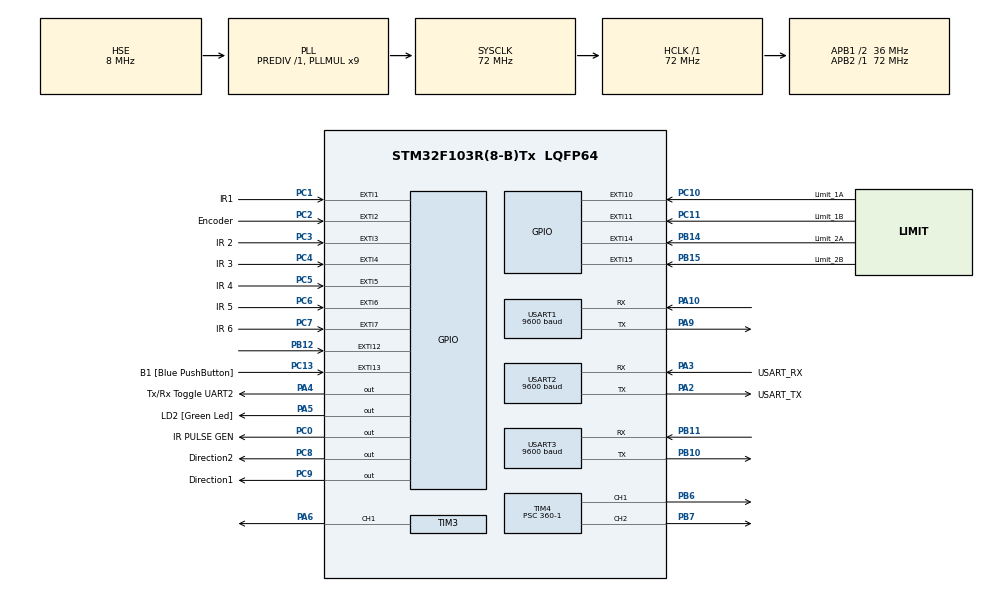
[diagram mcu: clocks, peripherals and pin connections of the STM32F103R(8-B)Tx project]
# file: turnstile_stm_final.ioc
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Dma.Request0=TIM3_CH1/TRIG
Dma.TIM3_CH1/TRIG.0.Direction=DMA_MEMORY_TO_PERIPH
Dma.TIM3_CH1/TRIG.0.Instance=DMA1_Channel6
Dma.TIM3_CH1/TRIG.0.MemDataAlignment=DMA_MDATAALIGN_BYTE
Dma.TIM3_CH1/TRIG.0.MemInc=DMA_MINC_ENABLE
Dma.TIM3_CH1/TRIG.0.Mode=DMA_NORMAL
Dma.TIM3_CH1/TRIG.0.PeriphDataAlignment=DMA_PDATAALIGN_HALFWORD
Dma.TIM3_CH1/TRIG.0.PeriphInc=DMA_PINC_DISABLE
Dma.TIM3_CH1/TRIG.0.Priority=DMA_PRIORITY_LOW
Mcu.Family=STM32F1
Mcu.Name=STM32F103R(8-B)Tx
Mcu.Package=LQFP64
NVIC.DMA1_Channel6_IRQn=true\:0\:0\:false\:false\:true\:false\:true\:true
NVIC.EXTI15_10_IRQn=true\:0\:0\:false\:false\:true\:true\:true\:true
NVIC.EXTI1_IRQn=true\:0\:0\:false\:false\:true\:true\:true\:true
NVIC.EXTI2_IRQn=true\:0\:0\:false\:false\:true\:true\:true\:true
NVIC.EXTI3_IRQn=true\:0\:0\:false\:false\:true\:true\:true\:true
NVIC.EXTI4_IRQn=true\:0\:0\:false\:false\:true\:true\:true\:true
NVIC.EXTI9_5_IRQn=true\:0\:0\:false\:false\:true\:true\:true\:true
NVIC.PriorityGroup=NVIC_PRIORITYGROUP_4
NVIC.USART1_IRQn=true\:0\:0\:true\:false\:true\:true\:true\:true
NVIC.USART2_IRQn=true\:0\:0\:true\:false\:true\:true\:true\:true
NVIC.USART3_IRQn=true\:0\:0\:false\:false\:true\:true\:true\:true
NimaLTD.I-CUBE-WS28XX.3.0.1.DriverJjWS28XX=true
NimaLTD.I-CUBE-WS28XX.3.0.1.WS28XX_PIXEL_MAX=578
PA10.Mode=Asynchronous
PA10.Signal=USART1_RX
PA13.GPIO_Label=TMS
PA13.Mode=Serial_Wire
PA13.Signal=SYS_JTMS-SWDIO
PA14.GPIO_Label=TCK
PA14.Mode=Serial_Wire
PA14.Signal=SYS_JTCK-SWCLK
PA2.GPIO_Label=USART_TX
PA2.GPIO_Mode=GPIO_MODE_AF_PP
PA2.GPIO_PuPd=GPIO_NOPULL
PA2.GPIO_Speed=GPIO_SPEED_FREQ_LOW
PA2.Mode=Asynchronous
PA2.Signal=USART2_TX
PA3.GPIO_Label=USART_RX
PA3.GPIO_Mode=GPIO_MODE_AF_PP
PA3.GPIO_PuPd=GPIO_NOPULL
PA3.GPIO_Speed=GPIO_SPEED_FREQ_LOW
PA3.Mode=Asynchronous
PA3.Signal=USART2_RX
PA4.GPIO_Label=Tx/Rx Toggle UART2
PA4.Signal=GPIO_Output
PA5.GPIO_Label=LD2 [Green Led]
PA5.GPIO_ModeDefaultOutputPP=GPIO_MODE_OUTPUT_PP
PA5.GPIO_PuPd=GPIO_NOPULL
PA5.GPIO_Speed=GPIO_SPEED_FREQ_LOW
PA5.Signal=GPIO_Output
PA6.Signal=S_TIM3_CH1
PA9.Mode=Asynchronous
PA9.Signal=USART1_TX
PB10.Mode=Asynchronous
PB10.Signal=USART3_TX
PB11.Mode=Asynchronous
PB11.Signal=USART3_RX
PB12.Signal=GPXTI12
PB14.GPIO_Label=Limit_2A
PB14.GPIO_PuPd=GPIO_PULLUP
PB14.Signal=GPXTI14
PB15.GPIO_Label=Limit_2B
PB15.GPIO_PuPd=GPIO_PULLUP
PB15.Signal=GPXTI15
PB3.GPIO_Label=SWO
PB3.Signal=SYS_JTDO-TRACESWO
PB6.Signal=S_TIM4_CH1
PB7.Signal=S_TIM4_CH2
PC0.GPIO_Label=IR PULSE GEN
PC0.Signal=GPIO_Output
PC1.GPIO_Label=IR1
PC1.Signal=GPXTI1
PC10.GPIO_Label=Limit_1A
PC10.GPIO_PuPd=GPIO_PULLUP
PC10.Signal=GPXTI10
PC11.GPIO_Label=Limit_1B
PC11.GPIO_PuPd=GPIO_PULLUP
PC11.Signal=GPXTI11
PC13-TAMPER-RTC.GPIO_Label=B1 [Blue PushButton]
PC13-TAMPER-RTC.GPIO_PuPd=GPIO_NOPULL
PC13-TAMPER-RTC.Signal=GPXTI13
PC14-OSC32_IN.Mode=LSE-External-Oscillator
PC14-OSC32_IN.Signal=RCC_OSC32_IN
PC15-OSC32_OUT.Mode=LSE-External-Oscillator
PC15-OSC32_OUT.Signal=RCC_OSC32_OUT
PC2.GPIO_Label=Encoder
PC2.Signal=GPXTI2
PC3.GPIO_Label=IR 2
PC3.Signal=GPXTI3
PC4.GPIO_Label=IR 3
PC4.Signal=GPXTI4
PC5.GPIO_Label=IR 4
PC5.Signal=GPXTI5
PC6.GPIO_Label=IR 5
PC6.Signal=GPXTI6
PC7.GPIO_Label=IR 6
PC7.Signal=GPXTI7
PC8.GPIO_Label=Direction2
PC8.Signal=GPIO_Output
PC9.GPIO_Label=Direction1
PC9.Signal=GPIO_Output
PD0-OSC_IN.Mode=HSE-External-Clock-Source
PD0-OSC_IN.Signal=RCC_OSC_IN
PD1-OSC_OUT.Mode=HSE-External-Clock-Source
PD1-OSC_OUT.Signal=RCC_OSC_OUT
ProjectManager.HeapSize=0x200
ProjectManager.StackSize=0x400
ProjectManager.TargetToolchain=STM32CubeIDE
RCC.AHBFreq_Value=72000000
RCC.APB1CLKDivider=RCC_HCLK_DIV2
RCC.APB1Freq_Value=36000000
RCC.APB1TimFreq_Value=72000000
RCC.APB2Freq_Value=72000000
RCC.APB2TimFreq_Value=72000000
RCC.HCLKFreq_Value=72000000
RCC.PLLMUL=RCC_PLL_MUL9
RCC.PLLSourceVirtual=RCC_PLLSOURCE_HSE
RCC.RTCClockSelection=RCC_RTCCLKSOURCE_LSE
RCC.SYSCLKFreq_VALUE=72000000
RCC.SYSCLKSource=RCC_SYSCLKSOURCE_PLLCLK
RCC.USBFreq_Value=72000000
SH.S_TIM3_CH1.0=TIM3_CH1,PWM Generation1 CH1
SH.S_TIM4_CH1.0=TIM4_CH1,PWM Generation1 CH1
SH.S_TIM4_CH2.0=TIM4_CH2,PWM Generation2 CH2
TIM3.Channel-PWM\ Generation1\ CH1=TIM_CHANNEL_1
TIM3.Period=100
TIM3.Prescaler=71
TIM4.Channel-PWM\ Generation1\ CH1=TIM_CHANNEL_1
TIM4.Channel-PWM\ Generation2\ CH2=TIM_CHANNEL_2
TIM4.Period=200-1
TIM4.Prescaler=360-1
USART1.BaudRate=9600
USART1.VirtualMode=VM_ASYNC
USART2.BaudRate=9600
USART2.VirtualMode=VM_ASYNC
USART3.BaudRate=9600
USART3.VirtualMode=VM_ASYNC
VP_NimaLTD.I-CUBE-WS28XX_VS_DriverJjWS28XX_1.0.0_3.0.1.Mode=DriverJjWS28XX
VP_TIM3_VS_ClockSourceINT.Mode=Internal
VP_TIM4_VS_ClockSourceINT.Mode=Internal
board=NUCLEO-F103RB

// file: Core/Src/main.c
/* USER CODE BEGIN Header */
/**
  ******************************************************************************
  * @file           : main.c
  * @brief          : Main program body
  ******************************************************************************
  * @attention
  *
  * Copyright (c) 2024 STMicroelectronics.
  * All rights reserved.
  *
  * This software is licensed under terms that can be found in the LICENSE file
  * in the root directory of this software component.
  * If no LICENSE file comes with this software, it is provided AS-IS.
  *
  ******************************************************************************
  */
/* USER CODE END Header */
#include "main.h"
#include "dma.h"
#include "tim.h"
#include "usart.h"
#include "gpio.h"

/* USER CODE BEGIN Includes */
#include "ws28xx.h"
#include <string.h>
#include <stdio.h>
#include "dma.h"
#include "tim.h"
#include "usart.h"
#include "gpio.h"
/* USER CODE END Includes */

/* USER CODE BEGIN PTD */
typedef enum {
    STATE_READY,
    STATE_READING,
    STATE_OPEN,
    STATE_CLOSED,
    STATE_OVERCAPACITY,
    STATE_SLEEP,
    STATE_EMERGENCY
} SystemState;
/* USER CODE END PTD */

/* USER CODE BEGIN PD */

#define LED_ROWS 8
#define LED_COLS 32
#define LED_FIRST_MATRIX 256
#define LED_LAST_MATRIX_START 322
#define LED_LAST_MATRIX 256
#define LED_SECOND_SEGMENT_START 256
#define LED_SECOND_SEGMENT_COUNT 19
#define LED_THIRD_SEGMENT_START 275
#define LED_THIRD_SEGMENT_COUNT 14
#define LED_FOURTH_SEGMENT_START 289
#define LED_FOURTH_SEGMENT_COUNT 14
#define LED_FIFTH_SEGMENT_START 303
#define LED_FIFTH_SEGMENT_COUNT 19
#define LED_TOTAL 578  // Total number of LEDs after adjustments
#define DELAY_TIME 100  // Delay for animation steps
#define OBJECT_DETECTION_TIMEOUT 500  // Timeout period for object detection (in ms)
#define PULSE_INTERVAL 100            // Interval for pulse transmission (in ms)
#define ENCODER_THRESHOLD 570
#define TURNSTILE_ID 1  // Set manually to 1 for one Nucleo, and 2 for the other
#define NUM_SENSORS 6
#define RS485_DE_RE_PIN GPIO_PIN_4
#define RS485_DE_RE_PORT GPIOA

/* USER CODE END PD */

/* USER CODE BEGIN PV */

// State variable for blinking cross animation
WS28XX_HandleTypeDef ws;
int global_brightness = 100;  // Global brightness control
int brightness = 40;     // Global brightness level (40-255)
SystemState currentState = STATE_READY; // Initialize to Ready State
uint8_t rxData[14];        // Single buffer for USART1 and USART2
uint8_t processedData[15]; // Buffer to store processed data
char usermsg[15];          // Message to send
volatile uint8_t flag_rev = 0;      // Flag to indicate data reception
int rfid_flag = 1; //to manage data flow
volatile uint8_t rfid_flag_1 = 1;
volatile uint8_t uart_source = 0;   // Variable to identify UART source (1 for USART1, 2 for USART2)
volatile uint8_t RFID_counter = 0;
char responseData[2];      // For NOS response
uint8_t intresponseData;
/* Other variables */
volatile int counter1 = 0;
volatile int counter2 = 0;
volatile int rev = 0;
volatile int data_received = 0;
int flag4=0;
int flag5=0;
int flag33=0;
int flag333=0;
int counterrfid=0;
int test_count=0;
volatile int rfid_trigger = 0;

char receivedTurnstileIDChar;
char receivedCommandChar;

 uint8_t receivedCommand;
 char receivedTurnstileID[1];

/*
uint32_t last_pulse_received_time1 = 0;  // Time for last pulse reception
uint32_t last_pulse_received_time2 = 0;  // Time for last pulse reception
uint32_t last_pulse_received_time3 = 0;  // Time for last pulse reception
uint32_t last_pulse_received_time4 = 0;  // Time for last pulse reception
uint32_t last_pulse_received_time5 = 0;  // Time for last pulse reception
uint32_t last_pulse_received_time6 = 0;  // Time for last pulse reception
*/
volatile int ir_flag = 0;

//uint8_t receivedTurnstileID = 0;

uint32_t last_pulse_received_time[NUM_SENSORS] = {0};

/* USER CODE END PV */

void SystemClock_Config(void);

/* USER CODE BEGIN 0 */
//LED MATRIX FUNCTIONS
/* Arrow shape indices for entry and exit matrices */

int arrow[] = {
    83, 84, 91, 92, 99, 100, 107, 108, 115, 116, 123, 124,
    131, 132, 137, 138, 139, 140, 141, 142, 146, 147, 148, 149,
    155, 156
};

/* Cross shape LED indices for the first matrix (0–255) */
int topCrossFirst[] = {24, 31, 33, 38, 42, 45, 51, 52, 59, 60, 66, 69, 73, 78, 80, 87};
int middleCrossFirst[] = {96, 103, 105, 110, 114, 117, 123, 124, 131, 132, 138, 141, 145, 150, 152, 159};
int bottomCrossFirst[] = {168, 175, 177, 182, 186, 189, 195, 196, 203, 204, 210, 213, 217, 222, 224, 231};

/* Cross shape LED indices for the last matrix (322–577) */
int topCrossLast[] = {346, 353, 355, 360, 364, 367, 373, 374, 381, 382, 388, 391, 395, 400, 402, 409};
int middleCrossLast[] = {418, 425, 427, 432, 436, 439, 445, 446, 453, 454, 460, 463, 467, 472, 474, 481};
int bottomCrossLast[] = {490, 497, 499, 504, 508, 511, 517, 518, 525, 526, 532, 535, 539, 544, 546, 553};

/* Strips and RFID indices */
int entryStrip[] = {256, 257, 258, 259, 260, 261, 262, 263, 264, 265, 266, 267, 268, 269, 270, 271, 272, 273, 274};
int exitStrip[] = {315, 316, 317, 318, 319, 320, 321, 322, 323, 324, 325, 326, 327, 328, 329, 330, 331, 332, 333};

int entryRFID[] = {275, 276, 277, 278, 279, 280, 281, 282, 283, 284, 285, 286, 287, 288, 289, 290, 291, 292, 293, 294};
int exitRFID[] = {295, 296, 297, 298, 299, 300, 301, 302, 303, 304, 305, 306, 307, 308, 309, 310, 311, 312, 313, 314};

int swingBarrierStrip[] = {};//Left empty till confirmation

const int entryStripSize = sizeof(entryStrip) / sizeof(entryStrip[0]);
const int exitStripSize = sizeof(exitStrip) / sizeof(exitStrip[0]);
const int entryRFIDSize = sizeof(entryRFID) / sizeof(entryRFID[0]);
const int exitRFIDSize = sizeof(exitRFID) / sizeof(exitRFID[0]);

/* Function to shift the arrow forward by one row, limited to the first strip */

int Get_LED_Index(int row, int col) {
    if (row % 2 == 0) {
        // Even row (left-to-right)
        return (row * LED_COLS) + col;
    } else {
        // Odd row (right-to-left)
        return (row * LED_COLS) + (LED_COLS - 1 - col);
    }
}

void Draw_Cross(WS28XX_HandleTypeDef *ws, int *cross, int color) {
    for (int i = 0; i < 16; i++) {
        if (cross[i] >= 0 && cross[i] < 577) {
            WS28XX_SetPixel_RGBW_565(ws, cross[i], color, global_brightness);
        }
    }
    WS28XX_Update(ws);
}

/* Function to turn off the "X" shapes for the cross */
void Clear_Cross(WS28XX_HandleTypeDef *ws, int *cross) {
    for (int i = 0; i < 16; i++) {
        if (cross[i] >= 0 && cross[i] < 577) {
            WS28XX_SetPixel_RGBW_565(ws, cross[i], COLOR_RGB565_BLACK, 0);
        }
    }
    WS28XX_Update(ws);
}

/* Function to light up a range of LEDs with a specific color */
void Light_Range(WS28XX_HandleTypeDef *ws, int start, int count, int color) {
    for (int i = start; i < start + count; i++) {
        WS28XX_SetPixel_RGBW_565(ws, i, color, global_brightness);
    }
    WS28XX_Update(ws);
}

/* Function to draw the arrow */
void Draw_Arrow(WS28XX_HandleTypeDef *ws, int *arrow, int color, int offset) {
    for (int i = 0; i < 26; i++) {
        int led_index = arrow[i] + offset;
        if (led_index >= 0 && led_index < 577) {
            WS28XX_SetPixel_RGBW_565(ws, led_index, color, global_brightness);
        }
    }
    WS28XX_Update(ws);
}

/* Function to clear the arrow */
void Clear_Arrow(WS28XX_HandleTypeDef *ws, int *arrow, int offset) {
    for (int i = 0; i < 26; i++) {
        int led_index = arrow[i] + offset;
        if (led_index >= 0 && led_index < 577) {
            WS28XX_SetPixel_RGBW_565(ws, led_index, COLOR_RGB565_BLACK, 0);
        }
    }
    WS28XX_Update(ws);
}

/* Function to shift the arrow forward */
void Shift_Arrow(int *arrow) {
    for (int i = 0; i < 26; i++) {
        arrow[i] = arrow[i] + 8;
        if (arrow[i] >= LED_FIRST_MATRIX) {  // Reset the arrow within the first matrix
            arrow[i] = arrow[i] % LED_FIRST_MATRIX;
        }
    }
}

void clear_function(WS28XX_HandleTypeDef *ws, int *display)
{

	 for (int i = 0; i < 200; i++) {
	        if (display[i] >= 0 && display[i] < 577) {
	            WS28XX_SetPixel_RGBW_565(ws, display[i], COLOR_RGB565_BLACK, 0);
	        }
	    }
}

/* Function to draw the "X" shapes for the cross */

void Normal_Mode() {
    Clear_Arrow(&ws, arrow, 0);
    Shift_Arrow(arrow);
    Draw_Arrow(&ws, arrow, COLOR_RGB565_GREEN, 0);  // Arrow in first matrix
    Draw_Cross(&ws, topCrossLast, COLOR_RGB565_RED);
    Draw_Cross(&ws, middleCrossLast, COLOR_RGB565_RED);
    Draw_Cross(&ws, bottomCrossLast, COLOR_RGB565_RED);

    // Static segments
    Light_Range(&ws, LED_SECOND_SEGMENT_START, LED_SECOND_SEGMENT_COUNT, COLOR_RGB565_GREEN);
    Light_Range(&ws, LED_THIRD_SEGMENT_START, LED_THIRD_SEGMENT_COUNT, COLOR_RGB565_GREEN);
    Light_Range(&ws, LED_FOURTH_SEGMENT_START, LED_FOURTH_SEGMENT_COUNT, COLOR_RGB565_RED);
    Light_Range(&ws, LED_FIFTH_SEGMENT_START, LED_FIFTH_SEGMENT_COUNT, COLOR_RGB565_RED);
}

/* Reverse Mode Function */
void Reverse_Mode() {
    Clear_Arrow(&ws, arrow, LED_LAST_MATRIX_START);
    Shift_Arrow(arrow);
    Draw_Arrow(&ws, arrow, COLOR_RGB565_GREEN, LED_LAST_MATRIX_START);  // Arrow in last matrix
    Draw_Cross(&ws, topCrossFirst, COLOR_RGB565_RED);
    Draw_Cross(&ws, middleCrossFirst, COLOR_RGB565_RED);
    Draw_Cross(&ws, bottomCrossFirst, COLOR_RGB565_RED);

    // Static segments (reversed)
    Light_Range(&ws, LED_SECOND_SEGMENT_START, LED_SECOND_SEGMENT_COUNT, COLOR_RGB565_RED);
    Light_Range(&ws, LED_THIRD_SEGMENT_START, LED_THIRD_SEGMENT_COUNT, COLOR_RGB565_RED);
    Light_Range(&ws, LED_FOURTH_SEGMENT_START, LED_FOURTH_SEGMENT_COUNT, COLOR_RGB565_GREEN);
    Light_Range(&ws, LED_FIFTH_SEGMENT_START, LED_FIFTH_SEGMENT_COUNT, COLOR_RGB565_GREEN);
}

// IR FUNCTIONS
int CheckObjectDetection(void) {
    static uint32_t last_pulse_time = 0;

    // Generate a pulse every 100 ms
    if (HAL_GetTick() - last_pulse_time >= PULSE_INTERVAL) {
        last_pulse_time = HAL_GetTick();
        HAL_GPIO_TogglePin(GPIOC, GPIO_PIN_0); // Generate pulse
    }

    // Check for timeout on all sensors
    ir_flag = 0; // Assume no object is present initially
    for (int i = 0; i < NUM_SENSORS; i++) {
        if (HAL_GetTick() - last_pulse_received_time[i] >= OBJECT_DETECTION_TIMEOUT) {
            ir_flag = 1;  // Object detected, set the flag
            break;        // No need to check further if one sensor times out
        }
    }

    return ir_flag; // Return the state of the IR flag
}

//MOTOR CONTROL FUNCTIONS
void Speed_Control1(int a)
{
	__HAL_TIM_SetCompare(&htim4, TIM_CHANNEL_1, a);
	//__HAL_TIM_SetCompare(&htim4, TIM_CHANNEL_2, a - 30);
}
void Speed_Control2(int a)
{
	//__HAL_TIM_SetCompare(&htim4, TIM_CHANNEL_1, a);
	__HAL_TIM_SetCompare(&htim4, TIM_CHANNEL_2, a);
}

void Direction(int a)
{
	if(a==1)
	{
		HAL_GPIO_WritePin(GPIOC, GPIO_PIN_8, GPIO_PIN_SET);
		HAL_GPIO_WritePin(GPIOC, GPIO_PIN_9, GPIO_PIN_RESET);
	}
	if(a==0)
	{
		HAL_GPIO_WritePin(GPIOC, GPIO_PIN_8, GPIO_PIN_RESET);
		HAL_GPIO_WritePin(GPIOC, GPIO_PIN_9, GPIO_PIN_SET);
	}
}

const uint16_t pulse_pins[NUM_SENSORS] = {GPIO_PIN_1, GPIO_PIN_3, GPIO_PIN_4, GPIO_PIN_5, GPIO_PIN_6, GPIO_PIN_7};

void HAL_GPIO_EXTI_Callback(uint16_t GPIO_Pin) {
    /*for (int i = 0; i < NUM_SENSORS; i++) {
        if (GPIO_Pin == pulse_pins[i]) {
            last_pulse_received_time[i] = HAL_GetTick();
            return; // Exit after updating the correct sensor
        }
    }*/
	if(GPIO_Pin == GPIO_PIN_12)
	{
			counter1++;
			if(counter1 == 598)
			{
				Speed_Control1(0);
				counter1 = 0;
			}
	}
	if(GPIO_Pin == GPIO_PIN_2)
	{
			counter2++;
			if(counter2 == 520)
			{
				Speed_Control2(0);
				counter2 = 0;
			}
	}
	if(GPIO_Pin == GPIO_PIN_13)
	{
			counter1 = 0;
			counter2 = 0;
			Speed_Control1(0);
			Speed_Control2(0);
	}
}

void quarter_cycle_open(int source) {
    uint32_t start_time = HAL_GetTick();  // Record the start time
    counter1 = 0;  // Reset the counter at the start of the operation
    counter2 = 0;

    // Set motor direction based on the source
    if (source == 2) {
        Direction(0);  // Direction for source 1
    } else if (source == 1) {
        Direction(1);  // Direction for source 2
    }

	Speed_Control1(100);
	Speed_Control2(80);

}

void quarter_cycle_closed(int source) {
    uint32_t start_time = HAL_GetTick();  // Record the start time
    counter1 = 0;  // Reset the counter at the start of the operation
    counter2 = 0;
    // Set motor direction based on the source
    if (source == 2) {
        Direction(1);  // Direction for source 1
    } else if (source == 1) {
        Direction(0);  // Direction for source 2
    }

	Speed_Control1(100);
	Speed_Control2(80);

}

// Function to enable RS485 Transmit Mode
void RS485_EnableTransmit(void) {
    HAL_GPIO_WritePin(RS485_DE_RE_PORT, RS485_DE_RE_PIN, GPIO_PIN_SET);
    HAL_GPIO_WritePin(GPIOA, GPIO_PIN_5, GPIO_PIN_SET);

}

// Function to enable RS485 Receive Mode
void RS485_EnableReceive(void) {
    HAL_GPIO_WritePin(RS485_DE_RE_PORT, RS485_DE_RE_PIN, GPIO_PIN_RESET);
    HAL_GPIO_WritePin(GPIOA, GPIO_PIN_5, GPIO_PIN_RESET);

}

//STATE FUNCTIONS

void ready_state(void) {
	rfid_flag = 1;
    if (flag_rev == 1) {
        currentState = STATE_READING;
        RFID_counter++;
    }
}

void reading_state(void) {

    if (flag_rev == 1) {
    	//sprintf(usermsg, "%s", processedData);
    	RS485_EnableTransmit();  // Enable TX Mode
    	HAL_Delay(100);
    	HAL_UART_Transmit(&huart2, (uint8_t *)usermsg, sizeof(usermsg), HAL_MAX_DELAY);
    	flag_rev = 0;
    	//HAL_Delay(1000);
        RS485_EnableReceive();  // Enable RX Mode
        //HAL_Delay(1000);

    }
    while(intresponseData == 0){

        if (responseData[0]== '1') {  // Process only if ID matches
           	flag333=1;
           	receivedCommand = responseData[1];
               intresponseData = receivedCommand;  // Store the command
           }

        else if (responseData[1]== '1') {  // Process only if ID matches
			flag333=1;
			receivedCommand = responseData[0];
			   intresponseData = receivedCommand;  // Store the command
		   }
    }
    intresponseData = intresponseData - 48;
    HAL_Delay(100);

    // NOS Potential Responses Setup
    switch (intresponseData) {
        case 6:
        	intresponseData = 0;
        	currentState = STATE_READY;
        	break;
        case 1:
        	intresponseData = 0;
        	responseData[1] = 0;
        	responseData[0] = 0;
        	currentState = STATE_OPEN;
        	break;
        case 2:
        	intresponseData = 0;
        	flag333 = 0;
        	responseData[1] = 0;
        	responseData[0] = 0;
        	currentState = STATE_CLOSED;
        	break;
        case 3:
        	intresponseData = 0;
        	currentState = STATE_EMERGENCY;
        	break;
        case 4:
        	intresponseData = 0;
        	currentState = STATE_SLEEP;
        	break;
        case 5:
        	intresponseData = 0;
        	currentState = STATE_OVERCAPACITY;
        	break;
    }
}

void open_state(void) {
    static uint32_t start_time = 0;
    static int step = 0;

    if (step == 0) {

        quarter_cycle_open(uart_source);
        start_time = HAL_GetTick();
        step = 1;
    }

    if (step == 1 && HAL_GetTick() - start_time >= 2000) {
        // Step 1: Wait for 2 seconds after opening
        step = 2;
    }

    if (step == 2) {
        if (uart_source == 1) {

        } else if (uart_source == 2) {

        }
        HAL_Delay(4000);

        // No object detected, proceed to close the doors
        step = 3;
    }

    if (step == 3) {
        quarter_cycle_closed(uart_source);
        currentState = STATE_READY;
        step = 0; // Reset step for the next cycle
    }
}

void closed_state(void) {
	HAL_Delay(2000);
	currentState = STATE_READY;

}

void sleep_state(void) {

    HAL_PWR_EnterSLEEPMode(PWR_MAINREGULATOR_ON, PWR_SLEEPENTRY_WFI);
}

void overcapacity_state(void) {
    static uint32_t start_time = 0;

    if (start_time == 0) {
        start_time = HAL_GetTick();
    }

    if (HAL_GetTick() - start_time < 2000) {

    } else {
        currentState = STATE_READY;
        start_time = 0; // Reset timer
    }
}

void emergency_state(void) {
    static uint32_t last_blink_time = 0;
    static int blink_count = 0;

    if (blink_count < 10) {
        if (HAL_GetTick() - last_blink_time >= 500) {
            last_blink_time = HAL_GetTick();
            if (blink_count % 2 == 0) {

            } else {

            }
            blink_count++;
        }
    } else {
        quarter_cycle_open(1);
        quarter_cycle_open(1);
        currentState = STATE_SLEEP;
        blink_count = 0;
    }
}
/* USER CODE END 0 */

int main(void)
{

  /* MCU Configuration--------------------------------------------------------*/

  /* Reset of all peripherals, Initializes the Flash interface and the Systick. */
  HAL_Init();

  /* Configure the system clock */
  SystemClock_Config();

  /* Initialize all configured peripherals */
  MX_GPIO_Init();
  MX_DMA_Init();
  MX_USART2_UART_Init();
  MX_TIM3_Init();
  MX_TIM4_Init();
  MX_USART1_UART_Init();
  MX_USART3_UART_Init();
  /* USER CODE BEGIN 2 */
  HAL_TIM_Base_Start(&htim4);
  HAL_TIM_PWM_Start(&htim4,TIM_CHANNEL_1);
  HAL_TIM_PWM_Start(&htim4,TIM_CHANNEL_2);
  WS28XX_Init(&ws, &htim3, 72, TIM_CHANNEL_1, LED_TOTAL);

  //HAL_GPIO_WritePin(GPIOA, GPIO_PIN_4, GPIO_PIN_RESET);
  // Start UART reception for RFID Reader (USART1)
  HAL_UART_Receive_IT(&huart1, rxData, sizeof(rxData));

  // Start UART reception for Additional UART (USART2)
  HAL_UART_Receive_IT(&huart3, rxData, sizeof(rxData));

  // Start UART reception for NOS response (USART3)
  HAL_UART_Receive_IT(&huart2, responseData, 2);
  //HAL_GPIO_WritePin(GPIOA, GPIO_PIN_4, GPIO_PIN_SET);
/*  while(1){

  }*/
  //quarter_cycle_open(1);
  /* USER CODE END 2 */

  /* Infinite loop */
  /* USER CODE BEGIN WHILE */
  while (1)
  {
		    Normal_Mode();
		switch (currentState)
		{
			case STATE_READY:
				ready_state();
				break;
			case STATE_READING:
				reading_state();
				break;
			case STATE_OPEN:
				open_state();
				break;
			case STATE_CLOSED:
				closed_state();
				break;
			// Leave other states empty for now
			case STATE_OVERCAPACITY:
				overcapacity_state();
				break;
			case STATE_SLEEP:
				sleep_state();
				break;
			case STATE_EMERGENCY:
				emergency_state();
				break;
			default:
				break;
		}

//		receivedTurnstileIDChar = responseData[0];
		test_count++;
    /* USER CODE END WHILE */

  }
}

void SystemClock_Config(void)
{
  RCC_OscInitTypeDef RCC_OscInitStruct = {0};
  RCC_ClkInitTypeDef RCC_ClkInitStruct = {0};

  /** Initializes the RCC Oscillators according to the specified parameters
  * in the RCC_OscInitTypeDef structure.
  */
  RCC_OscInitStruct.OscillatorType = RCC_OSCILLATORTYPE_HSE;
  RCC_OscInitStruct.HSEState = RCC_HSE_BYPASS;
  RCC_OscInitStruct.HSEPredivValue = RCC_HSE_PREDIV_DIV1;
  RCC_OscInitStruct.HSIState = RCC_HSI_ON;
  RCC_OscInitStruct.PLL.PLLState = RCC_PLL_ON;
  RCC_OscInitStruct.PLL.PLLSource = RCC_PLLSOURCE_HSE;
  RCC_OscInitStruct.PLL.PLLMUL = RCC_PLL_MUL9;
  if (HAL_RCC_OscConfig(&RCC_OscInitStruct) != HAL_OK)
  {
    Error_Handler();
  }

  /** Initializes the CPU, AHB and APB buses clocks
  */
  RCC_ClkInitStruct.ClockType = RCC_CLOCKTYPE_HCLK|RCC_CLOCKTYPE_SYSCLK
                              |RCC_CLOCKTYPE_PCLK1|RCC_CLOCKTYPE_PCLK2;
  RCC_ClkInitStruct.SYSCLKSource = RCC_SYSCLKSOURCE_PLLCLK;
  RCC_ClkInitStruct.AHBCLKDivider = RCC_SYSCLK_DIV1;
  RCC_ClkInitStruct.APB1CLKDivider = RCC_HCLK_DIV2;
  RCC_ClkInitStruct.APB2CLKDivider = RCC_HCLK_DIV1;

  if (HAL_RCC_ClockConfig(&RCC_ClkInitStruct, FLASH_LATENCY_2) != HAL_OK)
  {
    Error_Handler();
  }
}

/* USER CODE BEGIN 4 */

void HAL_UART_RxCpltCallback(UART_HandleTypeDef *huart) {
	if ((huart->Instance == USART1))  // Data received from USART1
    {
		if(rfid_flag == 1)
		{
	    	flag_rev = 1; // Set flag to indicate data has been received
	    	rfid_trigger++;
	    	rfid_flag = 0;
	        // Process the received data
	        for (int i = 0; i < 12; i++) {
	            processedData[i] = rxData[i + 1]; // Skip the start byte
	        }

	        uart_source = 1;
	        processedData[12] = uart_source + '0';
	        processedData[13] = TURNSTILE_ID + '0';
	        processedData[14] = '\0';

	        // Use sprintf to format usermsg with identification flag
	        sprintf(usermsg, "%s", processedData);

		}

        // Re-enable UART reception for USART1

        HAL_UART_Receive_IT(&huart1, rxData, sizeof(rxData));
    }
     if (huart->Instance == USART2) { // Data received from USART2

    	data_received++;
        receivedCommand = responseData[1];  // Second character is the Turnstile ID

        //rfid_flag = 1;

        // Re-enable UART reception for USART2
        //HAL_GPIO_WritePin(GPIOA, GPIO_PIN_4, GPIO_PIN_RESET);
        HAL_UART_Receive_IT(&huart2, responseData, sizeof(responseData));
    }
    if ((huart->Instance == USART3))// USART3 Interrupt
    {
		if(rfid_flag == 1)
		{
	    	flag_rev = 1; // Set flag to indicate data has been received
	    	rfid_trigger++;
	    	rfid_flag = 0;
	        // Process the received data
	        for (int i = 0; i < 12; i++) {
	            processedData[i] = rxData[i + 1]; // Skip the start byte
	        }

	        uart_source = 2;
	        processedData[12] = uart_source + '0';
	        processedData[13] = TURNSTILE_ID + '0';
	        processedData[14] = '\0';

	        // Use sprintf to format usermsg with identification flag
	        sprintf(usermsg, "%s", processedData);

		}
        // Re-enable UART reception

        HAL_UART_Receive_IT(&huart3,  rxData, sizeof(rxData));
    }
}

/* USER CODE END 4 */

void Error_Handler(void)
{
  /* USER CODE BEGIN Error_Handler_Debug */
  /* User can add his own implementation to report the HAL error return state */
    __disable_irq();
    uint32_t error_start_time = HAL_GetTick();

    while (1) {
        HAL_GPIO_TogglePin(GPIOA, GPIO_PIN_5);  // Indicate error
        HAL_Delay(500);

        char error_msg[128];
        snprintf(error_msg, sizeof(error_msg), "Error in state: %d, time: %lu\n", currentState, HAL_GetTick());
        HAL_UART_Transmit(&huart3, (uint8_t *)error_msg, strlen(error_msg), HAL_MAX_DELAY);

        if (HAL_GetTick() - error_start_time > 10000) {  // Reset system after prolonged error
            HAL_NVIC_SystemReset();
        }
    }
  /* USER CODE END Error_Handler_Debug */
}
